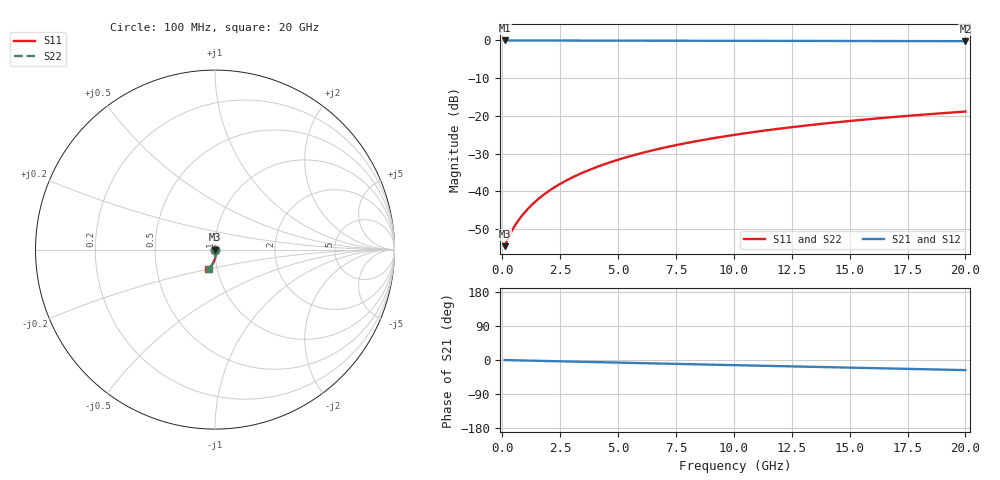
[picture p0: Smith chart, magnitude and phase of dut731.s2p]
! Touchstone file exported from HFSS 2026.1.0
!  File:  C:/ffzhzh/LocalFiles/Ansys_Project_Files/temp_train_TMRDL_731_1783154933_18472.aedt
!  Generated:  04:49:58 PM Jul  4, 2026
!  Design:  TMRDL
!  Project:  temp_train_TMRDL_731_1783154933_18472
! Variables:
!  h_bsmrdl = 2um
!  h_ox = 20um
!  h_rdl = 5um
!  h_sub = 80um
!  h_tmrdl = 4.7um
!  h_tsv = 80um
!  h_via = 3um
!  l_bsmrdl = 300um
!  l_sub = 859.97um
!  l_tmrdl = 459.97um
!  m_sub = 200um
!  pitch = 24.16um
!  r_tsv = 6um
!  s_tmrdl = 10um
!  w_bsmrdl = 18um
!  w_sub = 500um
!  w_tmrdl = 21.55um
!  x_tsv_center1 = 470.745um
!  x_tsv_center2 = 788.745um
!  x_tsv_center3 = 1270.265um
!  x_tsv_center4 = 1588.265um
!  x_tsv_center5 = 2069.785um
!  x_tsv_center6 = 2387.785um
# GHz S MA R 50.000000
! Terminal data exported
! Port[1] = TM_RDL1_1_T1
! Port[2] = TM_RDL1_1_T2
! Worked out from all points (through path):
!   200 points, 100 MHz to 20 GHz, reference 50 ohm
!   highest |S21| = -0.02 dB at 100 MHz (marker M1); lowest = -0.2 dB at 20 GHz (marker M2)
!   group delay of S21, straight-line fit = 3.68 ps
!   lowest |S11| = -54.5 dB at 100 MHz (marker M3), VSWR 1.00, Z = 50.2 + j0.00176 ohm
!   |S11| at or under -10 dB: start of sweep to end of sweep
!   |S22| runs from -54.5 to -18.8 dB; largest |S21 - S12| = 5e-15
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0.1  0.001873 0.5  0.9981 -0.2  0.9981 -0.2  0.001873 0.5
! Gamma 0 0 0 0
! Port Impedance 50 0 50 0
0.3  0.002579 -11.8  0.9975 -0.5  0.9975 -0.5  0.002579 -11.8
0.4  0.002958 -19.9  0.9972 -0.6  0.9972 -0.6  0.002959 -19.9
0.6  0.00373 -33.6  0.9969 -0.9  0.9969 -0.9  0.003732 -33.6
0.9  0.00496 -47.5  0.9966 -1.3  0.9966 -1.3  0.004963 -47.4
1.1  0.005827 -53.6  0.9964 -1.6  0.9964 -1.6  0.005832 -53.6
1.3  0.006725 -58.2  0.9963 -1.9  0.9963 -1.9  0.006731 -58.2
1.5  0.007648 -61.8  0.9961 -2.1  0.9961 -2.1  0.007656 -61.7
1.8  0.009072 -65.8  0.9959 -2.6  0.9959 -2.6  0.009081 -65.7
2.3  0.01153 -70.3  0.9954 -3.2  0.9954 -3.2  0.01155 -70.2
2.9  0.01461 -73.9  0.9948 -4.1  0.9948 -4.1  0.01463 -73.8
3.5  0.01781 -76.5  0.9942 -4.9  0.9942 -4.9  0.01783 -76.3
4.2  0.02166 -78.9  0.9934 -5.9  0.9934 -5.9  0.02169 -78.7
5  0.0262 -81.2  0.9925 -6.9  0.9925 -6.9  0.02623 -81.0
5.9  0.03142 -83.5  0.9915 -8.1  0.9915 -8.1  0.03147 -83.2
6.8  0.03673 -85.6  0.9905 -9.3  0.9905 -9.3  0.03679 -85.3
8.3  0.04568 -88.8  0.9889 -11.3  0.9889 -11.3  0.04576 -88.5
10.1  0.05646 -92.4  0.987 -13.7  0.987 -13.7  0.05657 -92.0
11.7  0.06601 -95.3  0.9853 -15.8  0.9853 -15.8  0.06615 -94.9
13.4  0.07609 -98.3  0.9836 -18.1  0.9836 -18.1  0.07626 -97.8
16.7  0.09532 -103.7  0.98 -22.4  0.98 -22.4  0.09556 -103.1
20  0.114 -108.7  0.9763 -26.7  0.9763 -26.7  0.1143 -108.1
